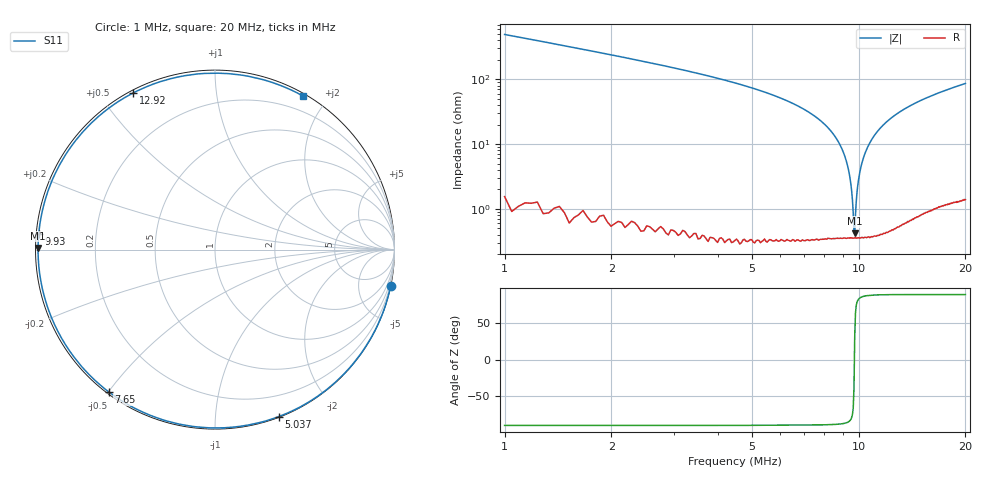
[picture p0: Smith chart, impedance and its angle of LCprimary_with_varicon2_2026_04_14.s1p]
# HZ S RI R 50
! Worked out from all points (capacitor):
!   401 points, 1 MHz to 20 MHz, reference 50 ohm
!   read as one part to ground: C = 320 pF near 1.095 MHz
!   lowest |Z| = 419 mohm at 9.74 MHz (marker M1)
!   series resonance near 9.719 MHz, so ESL is about 840 nH
!   S11 on the Smith chart (normalised r, x): 1 MHz: 0.03, -9.83; 5.037 MHz: 0.01, -1.45; 7.65 MHz: 0.01, -0.50; 9.93 MHz: 0.01, +0.04; 12.92 MHz: 0.01, +0.61; 20 MHz: 0.03, +1.72
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1000000  0.9789 -0.2012
2235000  0.8924 -0.4485
3375000  0.7401 -0.6696
4230000  0.5686 -0.8193
5037500  0.3543 -0.9309
5750000  0.1214 -0.987
6272500  -0.0702 -0.9903
6747500  -0.2532 -0.9589
7175000  -0.4187 -0.8977
7650000  -0.593 -0.7918
8125000  -0.7462 -0.6478
8552500  -0.8565 -0.4907
8932500  -0.9274 -0.3361
9312500  -0.9705 -0.1739
9740000  -0.9858 0.00864
9930000  -0.9819 0.0878
1.05e7  -0.9363 0.3093
1.107e7  -0.8501 0.4992
1.164e7  -0.739 0.6528
1.22575e7  -0.6045 0.7783
1.2875e7  -0.4672 0.8667
1.29225e7  -0.4568 0.8724
1.39675e7  -0.2388 0.9542
1.525e7  -0.0112 0.9829
1.639e7  0.1519 0.9713
1.7625e7  0.2937 0.939
1.88125e7  0.4023 0.8992
2e7  0.4901 0.8557
